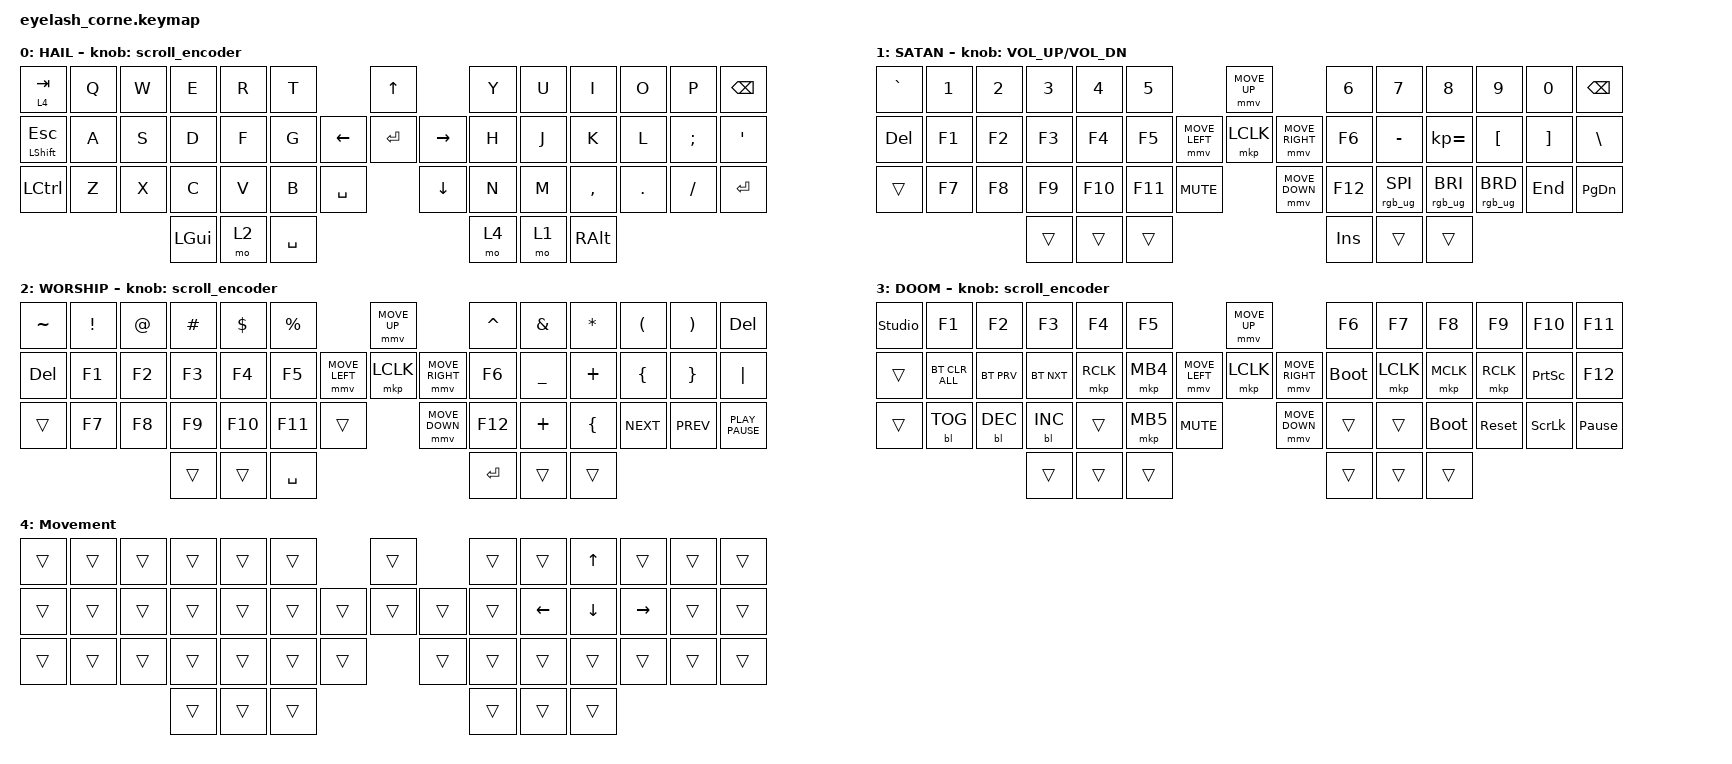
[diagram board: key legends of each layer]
#define ZMK_POINTING_DEFAULT_MOVE_VAL 1200  // 600
#define ZMK_POINTING_DEFAULT_SCRL_VAL 25   // 10

#include <input/processors.dtsi>
#include <zephyr/dt-bindings/input/input-event-codes.h>
#include <behaviors.dtsi>
#include <dt-bindings/zmk/backlight.h>
#include <dt-bindings/zmk/bt.h>
#include <dt-bindings/zmk/keys.h>
#include <dt-bindings/zmk/pointing.h>
#include <dt-bindings/zmk/rgb.h>

&mmv_input_listener { input-processors = <&zip_xy_scaler 2 1>; };

&msc_input_listener { input-processors = <&zip_scroll_scaler 2 1>; };

&msc {
    acceleration-exponent = <1>;      // 0
    time-to-max-speed-ms = <100>;       // 300
    delay-ms = <0>;                   // 0
};

&mmv {
    time-to-max-speed-ms = <500>;
    acceleration-exponent = <1>;
    trigger-period-ms = <16>;
};

&soft_off { hold-time-ms = <2000>; };

/ {
    behaviors {
        td0: td0 {
            compatible = "zmk,behavior-tap-dance";
            display-name = "Shift/Caps Lock Tap Dance";
            #binding-cells = <0>;
            bindings = <&kp LEFT_SHIFT>, <&kp CAPS>;
        };
    };

    rgb_encoder: rgb_encoder {
        compatible = "zmk,behavior-sensor-rotate";
        #sensor-binding-cells = <0>;
        bindings = <&rgb_ug RGB_BRI>, <&rgb_ug RGB_BRD>;
    };

    scroll_encoder: scroll_encoder {
        compatible = "zmk,behavior-sensor-rotate";
        #sensor-binding-cells = <0>;

        // Positive = up, Negative = down. Try 60–120 to taste.

        bindings = <&msc MOVE_Y(-80)>, <&msc MOVE_Y(80)>;

        tap-ms = <100>;
    };

    combos {
        compatible = "zmk,combos";

        softoff {
            bindings = <&soft_off>;
            key-positions = <1 15 29>;
        };

        Layer3 {
            bindings = <&mo 3>;
            key-positions = <43 46>;
        };
    };

    keymap {
        compatible = "zmk,keymap";

        default_layer {
            display-name = "HAIL";
            bindings = <
&lt 4 TAB              &kp Q  &kp W  &kp E     &kp R  &kp T                             &kp UP                &kp Y  &kp U  &kp I      &kp O    &kp P          &kp BSPC
&mt LEFT_SHIFT ESCAPE  &kp A  &kp S  &kp D     &kp F  &kp G                   &kp LEFT  &kp ENTER  &kp RIGHT  &kp H  &kp J  &kp K      &kp L    &kp SEMICOLON  &kp SQT
&kp LCTRL              &kp Z  &kp X  &kp C     &kp V  &kp B      &kp SPACE              &kp DOWN              &kp N  &kp M  &kp COMMA  &kp DOT  &kp FSLH       &kp RET
                                     &kp LGUI  &mo 2  &kp SPACE                                               &mo 4  &mo 1  &kp RALT
            >;

            sensor-bindings = <&scroll_encoder>;
        };

        lower_layer {
            display-name = "SATAN";
            bindings = <
&kp GRAVE  &kp N1  &kp N2  &kp N3  &kp N4   &kp N5                                 &mmv MOVE_UP                     &kp N6   &kp N7           &kp N8           &kp N9            &kp N0    &kp BSPC
&kp DEL    &kp F1  &kp F2  &kp F3  &kp F4   &kp F5                 &mmv MOVE_LEFT  &mkp LCLK       &mmv MOVE_RIGHT  &kp F6   &kp MINUS        &kp KP_EQUAL     &kp LEFT_BRACKET  &kp RBKT  &kp BACKSLASH
&trans     &kp F7  &kp F8  &kp F9  &kp F10  &kp F11  &kp C_MUTE                    &mmv MOVE_DOWN                   &kp F12  &rgb_ug RGB_SPI  &rgb_ug RGB_BRI  &rgb_ug RGB_BRD   &kp END   &kp PG_DN
                           &trans  &trans   &trans                                                                  &kp INS  &trans           &trans
            >;

            sensor-bindings = <&inc_dec_kp C_VOL_UP C_VOL_DN>;
        };

        raise_layer {
            display-name = "WORSHIP";
            bindings = <
&kp TILDE  &kp EXCL  &kp AT  &kp HASH  &kp DLLR  &kp PRCNT                            &mmv MOVE_UP                     &kp CARET  &kp AMPS        &kp ASTRK  &kp LPAR    &kp RPAR    &kp DEL
&kp DEL    &kp F1    &kp F2  &kp F3    &kp F4    &kp F5               &mmv MOVE_LEFT  &mkp LCLK       &mmv MOVE_RIGHT  &kp F6     &kp UNDERSCORE  &kp PLUS   &kp LBRC    &kp RBRC    &kp PIPE
&trans     &kp F7    &kp F8  &kp F9    &kp F10   &kp F11    &trans                    &mmv MOVE_DOWN                   &kp F12    &kp PLUS        &kp LBRC   &kp K_NEXT  &kp K_PREV  &kp K_PLAY_PAUSE
                             &trans    &trans    &kp SPACE                                                             &kp RET    &trans          &trans
            >;

            sensor-bindings = <&scroll_encoder>;
        };

        layer_3 {
            display-name = "DOOM";
            bindings = <
&studio_unlock  &kp F1          &kp F2      &kp F3      &kp F4     &kp F5                                  &mmv MOVE_UP                     &kp F6       &kp F7     &kp F8       &kp F9      &kp F10          &kp F11
&trans          &bt BT_CLR_ALL  &bt BT_PRV  &bt BT_NXT  &mkp RCLK  &mkp MB4                &mmv MOVE_LEFT  &mkp LCLK       &mmv MOVE_RIGHT  &bootloader  &mkp LCLK  &mkp MCLK    &mkp RCLK   &kp PRINTSCREEN  &kp F12
&trans          &bl BL_TOG      &bl BL_DEC  &bl BL_INC  &trans     &mkp MB5  &kp C_MUTE                    &mmv MOVE_DOWN                   &trans       &trans     &bootloader  &sys_reset  &kp SCROLLLOCK   &kp PAUSE_BREAK
                                            &trans      &trans     &trans                                                                   &trans       &trans     &trans
            >;

            sensor-bindings = <&scroll_encoder>;
        };

        Movement {
            bindings = <
&trans  &trans  &trans  &trans  &trans  &trans                    &trans          &trans  &trans    &kp UP_ARROW  &trans     &trans  &trans
&trans  &trans  &trans  &trans  &trans  &trans            &trans  &trans  &trans  &trans  &kp LEFT  &kp DOWN      &kp RIGHT  &trans  &trans
&trans  &trans  &trans  &trans  &trans  &trans  &trans            &trans          &trans  &trans    &trans        &trans     &trans  &trans
                        &trans  &trans  &trans                                    &trans  &trans    &trans
            >;
        };
    };
};
